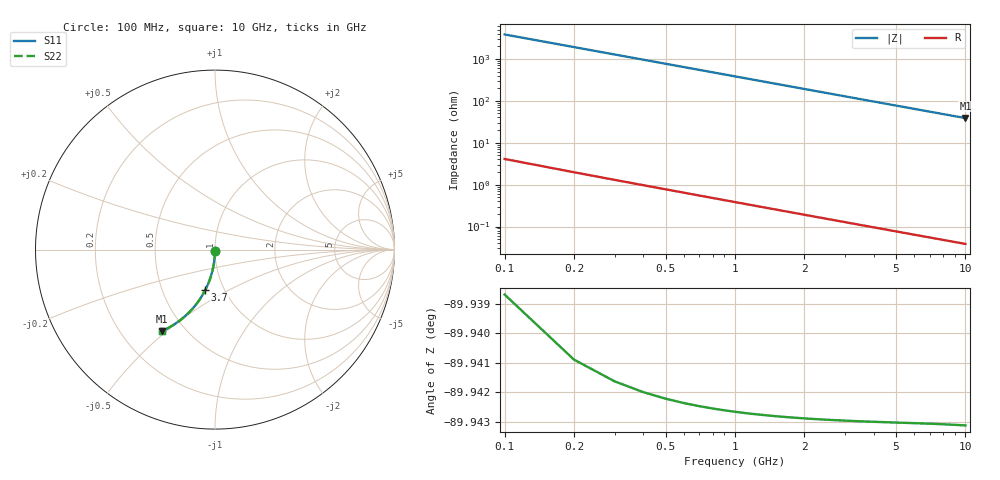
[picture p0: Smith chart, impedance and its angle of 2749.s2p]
# Hz S RI R 50.00
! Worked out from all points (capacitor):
!   100 points, 100 MHz to 10 GHz, reference 50 ohm
!   read as one part in shunt: C = 415 fF near 100 MHz
!   lowest |Z| = 38.7 ohm at 10 GHz (marker M1)
!   S11 on the Smith chart (normalised r, x): 100 MHz: 1.00, -0.01; 3.7 GHz: 0.81, -0.39; 10 GHz: 0.38, -0.48
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1e8  -4.39e-05 -0.00651  0.9999 -0.00655  0.9999 -0.00655  -4.39e-05 -0.00651
2e8  -0.000178 -0.013  0.9998 -0.0131  0.9998 -0.0131  -0.000178 -0.013
3e8  -0.000397 -0.0195  0.9996 -0.0196  0.9996 -0.0196  -0.000397 -0.0195
4e8  -0.000701 -0.026  0.9993 -0.0262  0.9993 -0.0262  -0.000701 -0.026
5e8  -0.00109 -0.0325  0.9989 -0.0327  0.9989 -0.0327  -0.00109 -0.0325
6e8  -0.00156 -0.039  0.9984 -0.0392  0.9984 -0.0392  -0.00156 -0.039
7e8  -0.00212 -0.0454  0.9979 -0.0457  0.9979 -0.0457  -0.00212 -0.0454
8e8  -0.00276 -0.0519  0.9972 -0.0522  0.9972 -0.0522  -0.00276 -0.0519
9e8  -0.00349 -0.0583  0.9965 -0.0587  0.9965 -0.0587  -0.00349 -0.0583
1.1e9  -0.00519 -0.0712  0.9948 -0.0716  0.9948 -0.0716  -0.00519 -0.0712
1.4e9  -0.00835 -0.0902  0.9916 -0.0908  0.9916 -0.0908  -0.00835 -0.0902
1.8e9  -0.0137 -0.1154  0.9863 -0.1161  0.9863 -0.1161  -0.0137 -0.1154
2.1e9  -0.0185 -0.1339  0.9815 -0.1347  0.9815 -0.1347  -0.0185 -0.1339
2.5e9  -0.026 -0.1581  0.974 -0.1591  0.974 -0.1591  -0.026 -0.1581
2.9e9  -0.0346 -0.1817  0.9654 -0.1828  0.9654 -0.1828  -0.0346 -0.1817
3.4e9  -0.0468 -0.2101  0.9531 -0.2115  0.9531 -0.2115  -0.0468 -0.2101
3.7e9  -0.0549 -0.2267  0.945 -0.2281  0.945 -0.2281  -0.0549 -0.2267
4.4e9  -0.0758 -0.2633  0.9242 -0.2651  0.9242 -0.2651  -0.0758 -0.2633
5.1e9  -0.0991 -0.2973  0.9009 -0.2993  0.9009 -0.2993  -0.0991 -0.2973
6.7e9  -0.1589 -0.3638  0.841 -0.3665  0.841 -0.3665  -0.1589 -0.3638
8.4e9  -0.2283 -0.4175  0.7717 -0.4209  0.7717 -0.4209  -0.2283 -0.4175
1e10  -0.2947 -0.4534  0.7053 -0.4575  0.7053 -0.4575  -0.2947 -0.4534
